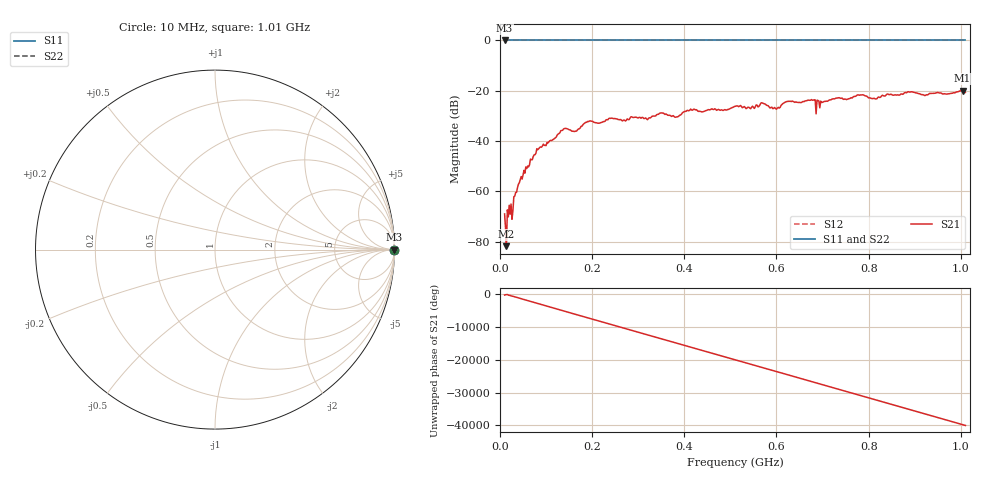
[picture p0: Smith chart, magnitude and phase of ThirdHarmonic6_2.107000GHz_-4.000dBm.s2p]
! 8/17/2025 1:11:58 AM
! C:\ANRITSUVNA\TEMP\TEMP.S2P
! CHANNEL.1
! TR.MEASUREMENT
! RAW.DATA
! RF.CORRECTION.OFF
! AVERAGING.OFF
! IF.BANDWIDTH: 5KHZ
! SWEEPTYPE:  FREQ.SWEEP(Linear)
! Reference Plane Port Info
! PORT:  PORT1  PORT2
! DISTANCE:  0  m  0  m
! TIME:  0  s  0  s
! PHASE.OFFSET:  0  deg.  0  deg.
! LOSS:  0  dB  0  dB
! REF.LOSS:  0  dB  0  dB
! REF.FREQ:  0  Hz  0  Hz
! Power Info
! POWER:  -20  dBm  -20  dBm
! EFF.POWER:  -20  dBm  -20  dBm
! SOURCE.ATTEN:  0  dB  0  dB
! TEST.ATTEN:  0  dB  0  dB
# GHZ S RI R 50.0
! FREQ.GHZ  S11RE  S11IM  S21RE  S21IM  S12RE  S12IM  S22RE  S22IM
!; PortSelection: Port_12
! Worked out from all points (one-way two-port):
!   501 points, 10 MHz to 1.01 GHz, reference 50 ohm
!   highest |S21| = -19.91 dB at 1.004 GHz (marker M1); lowest = -81.8 dB at 14 MHz (marker M2)
!   lowest |S11| = 0.0 dB at 10 MHz (marker M3)
!   |S11| at or under -10 dB: nowhere
!   |S22| runs from 0.0 to 0.0 dB; largest |S21 - S12| = 1.1
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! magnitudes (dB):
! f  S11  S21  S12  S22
! 10 MHz  0.0  -69.0  0.0  0.0
! 14 MHz  0.0  -81.8  0.0  0.0
! 20 MHz  0.0  -65.5  0.0  0.0
! 26 MHz  0.0  -71.1  0.0  0.0
! 42 MHz  0.0  -56.5  0.0  0.0
! 84 MHz  0.0  -43.0  0.0  0.0
! 136 MHz  0.0  -35.7  0.0  0.0
! 162 MHz  0.0  -36.2  0.0  0.0
! 178 MHz  0.0  -34.0  0.0  0.0
! 344 MHz  0.0  -29.4  0.0  0.0
! 382 MHz  0.0  -30.5  0.0  0.0
! 410 MHz  0.0  -27.9  0.0  0.0
! 510 MHz  0.0  -26.2  0.0  0.0
! 570 MHz  0.0  -24.9  0.0  0.0
! 602 MHz  0.0  -26.9  0.0  0.0
! 624 MHz  0.0  -24.2  0.0  0.0
! 678 MHz  0.0  -23.8  0.0  0.0
! 690 MHz  0.0  -23.9  0.0  0.0
! 732 MHz  0.0  -22.9  0.0  0.0
! 844 MHz  0.0  -21.5  0.0  0.0
! 1.004 GHz  0.0  -19.9  0.0  0.0
! 1.01 GHz  0.0  -20.6  0.0  0.0
